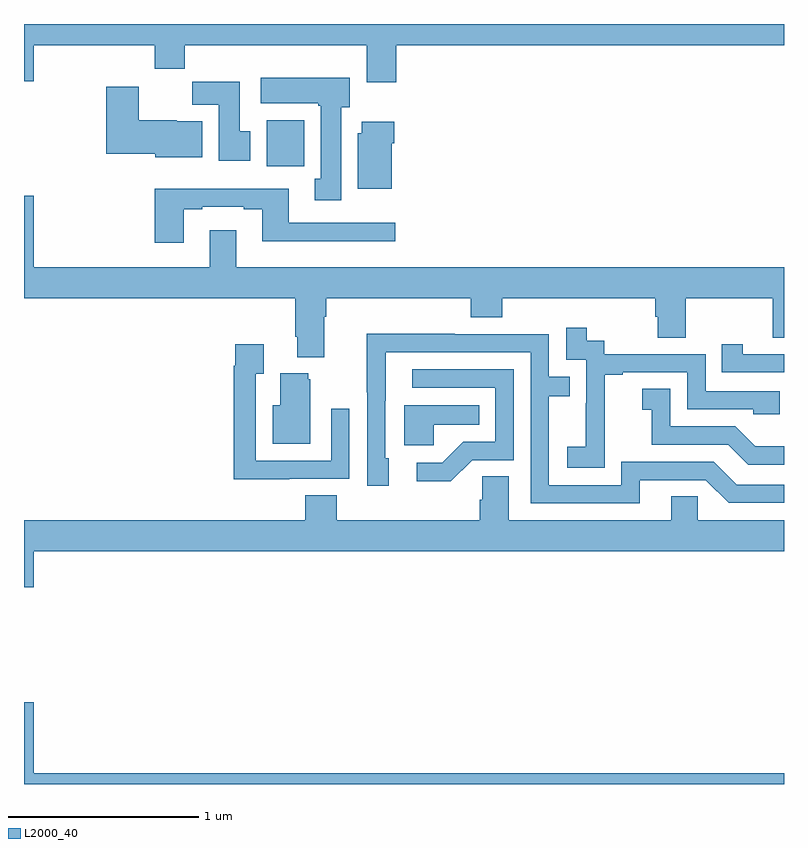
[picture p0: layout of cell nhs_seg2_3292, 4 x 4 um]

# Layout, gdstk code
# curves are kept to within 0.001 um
import gdstk
lib = gdstk.Library(unit=1e-6, precision=1e-09)
def R(c, l, rs):  # rectangles x0, y0, x1, y1
    for r in rs: c.add(gdstk.rectangle(r[:2], r[2:], *l))
def P(c, l, *ps):  # polygons
    for p in ps: c.add(gdstk.Polygon(p, *l))
L2000_40 = (2000, 40)

nhs_seg2_3292 = lib.new_cell('nhs_seg2_3292')
R(nhs_seg2_3292, L2000_40, [(286.277,595.052,286.474,595.294)])
P(nhs_seg2_3292, L2000_40, [(286.958,595.688),(289,595.688),(289,595.8),(285,595.8),(285,595.5),(285.052,595.5),(285.052,595.688),(285.689,595.688),(285.689,595.564),(285.845,595.564),(285.845,595.688),(286.805,595.688),(286.805,595.494),(286.958,595.494)],
  [(286.669,595.362),(286.714,595.362),(286.714,595.516),(286.245,595.516),(286.245,595.382),(286.549,595.382),(286.549,595.369),(286.562,595.369),(286.562,594.986),(286.529,594.986),(286.529,594.873),(286.669,594.873)],
  [(286.192,595.236),(286.135,595.236),(286.135,595.495),(285.886,595.495),(285.886,595.376),(286.025,595.376),(286.025,595.08),(286.192,595.08)],
  [(285.937,595.288),(285.804,595.288),(285.804,595.294),(285.604,595.294),(285.604,595.471),(285.434,595.471),(285.434,595.118),(285.69,595.118),(285.69,595.1),(285.937,595.1)],
  [(286.936,595.172),(286.949,595.172),(286.949,595.285),(286.778,595.285),(286.778,595.224),(286.757,595.224),(286.757,594.932),(286.936,594.932)],
  [(285.841,594.825),(285.937,594.825),(285.937,594.837),(286.157,594.837),(286.157,594.825),(286.253,594.825),(286.253,594.656),(286.954,594.656),(286.954,594.753),(286.393,594.753),(286.393,594.934),(285.689,594.934),(285.689,594.648),(285.841,594.648)],
  [(286.579,594.26),(286.592,594.26),(286.592,594.356),(287.351,594.356),(287.351,594.257),(287.516,594.257),(287.516,594.356),(288.323,594.356),(288.323,594.258),(288.335,594.258),(288.335,594.148),(288.483,594.148),(288.483,594.356),(288.94,594.356),(288.94,594.148),(289,594.148),(289,594.52),(286.117,594.52),(286.117,594.715),(285.977,594.715),(285.977,594.52),(285.052,594.52),(285.052,594.895),(285,594.895),(285,594.356),(286.427,594.356),(286.427,594.154),(286.439,594.154),(286.439,594.047),(286.579,594.047)],
  [(288.057,593.671),(288.056,593.671),(288.056,593.955),(288.151,593.955),(288.151,593.967),(288.492,593.967),(288.492,593.772),(288.837,593.772),(288.837,593.745),(288.977,593.745),(288.977,593.868),(288.588,593.868),(288.588,594.063),(288.054,594.063),(288.054,594.132),(287.962,594.132),(287.962,594.202),(287.853,594.202),(287.853,594.033),(287.958,594.033),(287.958,593.804),(287.957,593.804),(287.957,593.575),(287.859,593.575),(287.859,593.465),(288.057,593.465)],
  [(288.241,593.4),(288.588,593.4),(288.708,593.28),(289,593.28),(289,593.376),(288.75,593.376),(288.63,593.496),(288.144,593.496),(288.144,593.373),(287.763,593.373),(287.763,593.842),(287.873,593.842),(287.873,593.943),(287.763,593.943),(287.763,594.168),(287.267,594.168),(287.267,594.17),(286.804,594.17),(286.804,593.863),(286.806,593.863),(286.806,593.37),(286.921,593.37),(286.921,593.514),(286.902,593.514),(286.903,594.072),(287.667,594.072),(287.667,593.277),(288.241,593.277)],
  [(289,594.063),(288.784,594.063),(288.784,594.115),(288.673,594.115),(288.673,593.967),(289,593.967)],
  [(286.397,593.406),(286.713,593.406),(286.713,593.776),(286.617,593.776),(286.617,593.502),(286.221,593.502),(286.221,593.959),(286.261,593.959),(286.261,594.115),(286.113,594.115),(286.113,594.002),(286.105,594.002),(286.105,593.405),(286.397,593.405)],
  [(287.358,593.505),(287.577,593.505),(287.577,593.982),(287.043,593.982),(287.043,593.886),(287.481,593.886),(287.481,593.601),(287.312,593.601),(287.201,593.49),(287.067,593.49),(287.067,593.393),(287.245,593.393)],
  [(286.507,593.931),(286.496,593.931),(286.496,593.962),(286.349,593.962),(286.349,593.794),(286.31,593.794),(286.31,593.591),(286.507,593.591)],
  [(289,593.578),(288.848,593.578),(288.744,593.682),(288.402,593.682),(288.402,593.881),(288.255,593.881),(288.255,593.771),(288.304,593.771),(288.304,593.586),(288.707,593.586),(288.812,593.481),(289,593.481)],
  [(287.157,593.69),(287.396,593.69),(287.396,593.794),(287,593.794),(287,593.582),(287.157,593.582)],
  [(285.052,593.024),(289,593.024),(289,593.188),(288.546,593.188),(288.546,593.315),(288.407,593.315),(288.407,593.188),(287.551,593.188),(287.551,593.42),(287.412,593.42),(287.412,593.297),(287.399,593.297),(287.399,593.188),(286.646,593.188),(286.646,593.321),(286.481,593.321),(286.481,593.188),(285,593.188),(285,592.836),(285.052,592.836)],
  [(289,591.856),(285.052,591.856),(285.052,592.231),(285,592.231),(285,591.8),(289,591.8)])

lib.write_gds('nhs_seg2_3292.gds')
